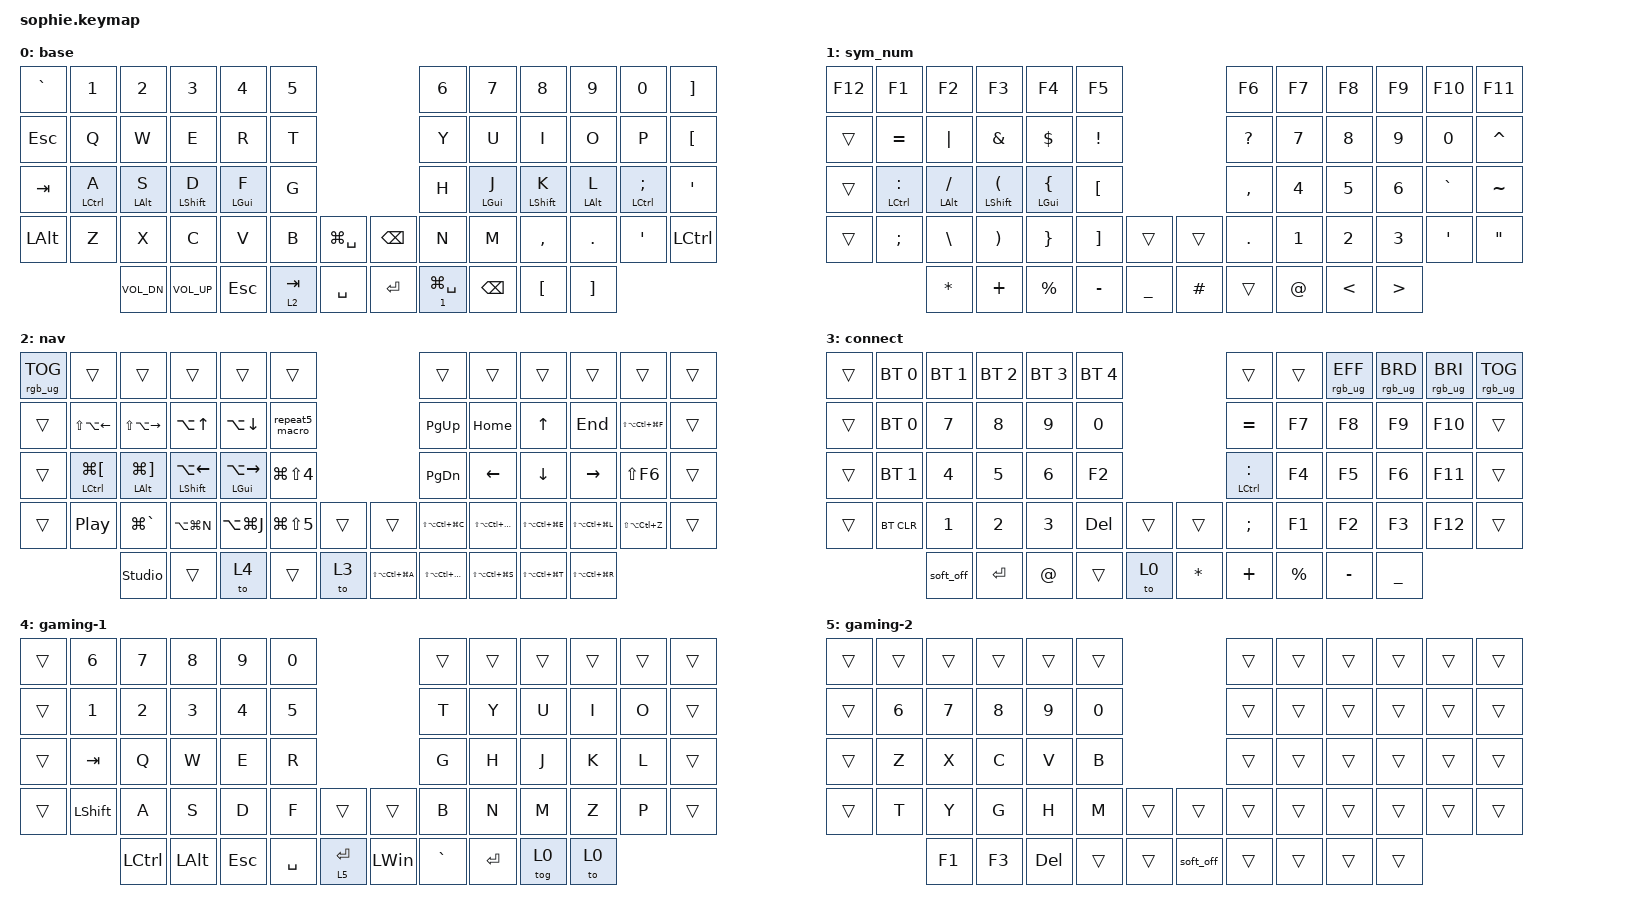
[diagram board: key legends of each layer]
/*
 * Sofle ("sophie") keymap ported from the Flake keymap (Jekins/flake-zmk-config).
 *
 * The 40 keys that sit where Flake keys sit carry the Flake bindings on every layer:
 * rows Q/A/Z in columns 2-6 are Flake's 3x5 block, the thumb row is Flake's bottom row.
 * The remaining 20 keys (number row, outer columns, the two inner keys) only add bindings,
 * so both keyboards share one muscle memory.
 *
 * Diagrams: "tap/hold" for hold-taps, blank = transparent.
 */

#include <behaviors.dtsi>
#include <dt-bindings/zmk/bt.h>
#include <dt-bindings/zmk/keys.h>
#include <dt-bindings/zmk/rgb.h>

/ {
    macros {
        repeat5_macro: repeat5_macro {
            compatible = "zmk,behavior-macro";
            #binding-cells = <0>;
            bindings = <&key_repeat &key_repeat &key_repeat &key_repeat &key_repeat>;
        };

        layer_tap_lang: layer_tap_lang {
            compatible = "zmk,behavior-macro-one-param";
            #binding-cells = <1>;
            wait-ms = <0>;
            tap-ms = <0>;
            bindings =
                <&macro_press>,
                <&kp LCTRL &kp LALT>,
                <&macro_tap>,
                <&kp N1>,
                <&macro_release>,
                <&kp LCTRL &kp LALT &macro_param_1to1>,
                <&macro_press>,
                <&mo MACRO_PLACEHOLDER>,
                <&macro_pause_for_release>,
                <&macro_param_1to1>,
                <&macro_release>,
                <&mo MACRO_PLACEHOLDER>,
                <&macro_press>,
                <&kp LCTRL &kp LALT>,
                <&macro_tap>,
                <&kp N3>,
                <&macro_release>,
                <&kp LCTRL &kp LALT>;

            /*
                Relies on the same Hammerspoon script as the Flake:
                ctrl+alt+1 switches to "ABC" and remembers the previous layout,
                ctrl+alt+3 switches back to it.
            */
        };
    };

    behaviors {
        lt_lang: layer_tap_with_lang {
            compatible = "zmk,behavior-hold-tap";
            #binding-cells = <2>;
            tapping-term-ms = <200>;
            quick-tap-ms = <175>;
            flavor = "tap-preferred";
            bindings = <&layer_tap_lang>, <&kp>;
        };

        hmr: hmr {
            compatible = "zmk,behavior-hold-tap";
            bindings = <&kp>, <&kp>;

            #binding-cells = <2>;
            tapping-term-ms = <200>;
            quick-tap-ms = <175>;
            flavor = "balanced";
            hold-trigger-on-release;
            // left hand, both inner keys, all thumbs
            hold-trigger-key-positions = <0 1 2 3 4 5 12 13 14 15 16 17 24 25 26 27 28 29 36 37 38 39 40 41 42 43 50 51 52 53 54 55 56 57 58 59>;
        };

        hml: hml {
            compatible = "zmk,behavior-hold-tap";
            bindings = <&kp>, <&kp>;

            #binding-cells = <2>;
            tapping-term-ms = <200>;
            quick-tap-ms = <175>;
            flavor = "balanced";
            hold-trigger-on-release;
            // right hand, both inner keys, all thumbs
            hold-trigger-key-positions = <6 7 8 9 10 11 18 19 20 21 22 23 30 31 32 33 34 35 42 43 44 45 46 47 48 49 50 51 52 53 54 55 56 57 58 59>;
        };
    };

    keymap {
        compatible = "zmk,keymap";

        base {
            // |   `   |   1   |   2   |   3   |   4   |   5   |               |   6   |   7   |   8   |   9   |   0   |   ]   |
            // |  ESC  |   Q   |   W   |   E   |   R   |   T   |               |   Y   |   U   |   I   |   O   |   P   |   [   |
            // |  TAB  | A/CTL | S/ALT | D/SFT | F/CMD |   G   |               |   H   | J/CMD | K/SFT | L/ALT | ;/CTL |   '   |
            // |  ALT  |   Z   |   X   |   C   |   V   |   B   |  LANG |  BSPC |   N   |   M   |   ,   |   .   |   '   |  CTRL |
            //                 |  VOL- |  VOL+ |  ESC  |TAB/NAV| SPACE | ENTER |LNG/SYM|  BSPC |   [   |   ]   |
            bindings = <
  &kp GRAVE   &kp N1        &kp N2           &kp N3             &kp N4       &kp N5                                   &kp N6                &kp N7         &kp N8             &kp N9             &kp N0           &kp RIGHT_BRACKET
  &kp ESCAPE  &kp Q         &kp W            &kp E              &kp R        &kp T                                    &kp Y                 &kp U          &kp I              &kp O              &kp P            &kp LEFT_BRACKET
  &kp TAB     &hml LCTRL A  &hml LEFT_ALT S  &hml LEFT_SHIFT D  &hml LGUI F  &kp G                                    &kp H                 &hmr LGUI J    &hmr LEFT_SHIFT K  &hmr LEFT_ALT L    &hmr LCTRL SEMI  &kp SQT
  &kp LALT    &kp Z         &kp X            &kp C              &kp V        &kp B      &kp LG(SPACE)  &kp BACKSPACE  &kp N                 &kp M          &kp COMMA          &kp DOT            &kp SQT          &kp LCTRL
                            &kp C_VOL_DN     &kp C_VOL_UP       &kp ESCAPE   &lt 2 TAB  &kp SPACE      &kp ENTER      &lt_lang 1 LG(SPACE)  &kp BACKSPACE  &kp LEFT_BRACKET   &kp RIGHT_BRACKET
            >;
        };

        sym_num {
            // |  F12  |   F1  |   F2  |   F3  |   F4  |   F5  |               |   F6  |   F7  |   F8  |   F9  |  F10  |  F11  |
            // |       |   =   |   |   |   &   |   $   |   !   |               |   ?   |   7   |   8   |   9   |   0   |   ^   |
            // |       | :/CTL | //ALT | (/SFT | {/CMD |   [   |               |   ,   |   4   |   5   |   6   |   `   |   ~   |
            // |       |   ;   |   \   |   )   |   }   |   ]   |       |       |   .   |   1   |   2   |   3   |   '   |   "   |
            //                 |   *   |   +   |   %   |   -   |   _   |   #   | (held)|   @   |   <   |   >   |
            bindings = <
  &kp F12  &kp F1            &kp F2               &kp F3                       &kp F4                &kp F5                                       &kp F6        &kp F7  &kp F8         &kp F9            &kp F10    &kp F11
  &trans   &kp EQUAL         &kp PIPE             &kp AMPERSAND                &kp DOLLAR            &kp EXCLAMATION                              &kp QUESTION  &kp N7  &kp N8         &kp N9            &kp N0     &kp CARET
  &trans   &hml LCTRL COLON  &hml LEFT_ALT SLASH  &hml LSHFT LEFT_PARENTHESIS  &hml LGUI LEFT_BRACE  &kp LEFT_BRACKET                             &kp COMMA     &kp N4  &kp N5         &kp N6            &kp GRAVE  &kp TILDE
  &trans   &kp SEMI          &kp BACKSLASH        &kp RIGHT_PARENTHESIS        &kp RIGHT_BRACE       &kp RIGHT_BRACKET  &trans          &trans    &kp DOT       &kp N1  &kp N2         &kp N3            &kp SQT    &kp DOUBLE_QUOTES
                             &kp ASTERISK         &kp PLUS                     &kp PERCENT           &kp MINUS          &kp UNDERSCORE  &kp HASH  &trans        &kp AT  &kp LESS_THAN  &kp GREATER_THAN
            >;
        };

        nav {
            // |  RGB  |       |       |       |       |       |               |       |       |       |       |       |       |
            // |       | SELW< | SELW> |  A-UP | A-DOWN|  REP5 |               |  PGUP |  HOME |   UP  |  END  | HYP-F |       |
            // |       | C[/CTL| C]/ALT| W</SFT| W>/CMD| C-S-4 |               |  PGDN |  LEFT |  DOWN | RIGHT |  S-F6 |       |
            // |       |  PLAY |  C-`  | A-C-N | A-C-J | C-S-5 |       |       | HYP-C | HYP-M | HYP-E | HYP-L | MEH-Z |       |
            //                 | STUDIO|       |  GAME | (held)|  CONN | HYP-A | HYP-W | HYP-S | HYP-T | HYP-R |
            bindings = <
  &rgb_ug RGB_TOG  &trans                       &trans                       &trans                      &trans                     &trans                                         &trans                 &trans                 &trans                 &trans                 &trans                 &trans
  &trans           &kp LS(LA(LEFT_ARROW))       &kp LS(LA(RIGHT_ARROW))      &kp LA(UP_ARROW)            &kp LA(DOWN_ARROW)         &repeat5_macro                                 &kp PAGE_UP            &kp HOME               &kp UP                 &kp END                &kp LS(LA(LC(LG(F))))  &trans
  &trans           &hml LCTRL LG(LEFT_BRACKET)  &hml LALT LG(RIGHT_BRACKET)  &hml LSHIFT LA(LEFT_ARROW)  &hml LGUI LA(RIGHT_ARROW)  &kp LG(LS(N4))                                 &kp PG_DN              &kp LEFT               &kp DOWN               &kp RIGHT              &kp LS(F6)             &trans
  &trans           &kp C_PP                     &kp LG(GRAVE)                &kp LA(LG(N))               &kp LA(LG(J))              &kp LG(LS(N5))  &trans  &trans                 &kp LS(LA(LC(LG(C))))  &kp LS(LA(LC(LG(M))))  &kp LS(LA(LC(LG(E))))  &kp LS(LA(LC(LG(L))))  &kp LS(LA(LC(Z)))      &trans
                                                &studio_unlock               &trans                      &to 4                      &trans          &to 3   &kp LS(LA(LC(LG(A))))  &kp LS(LA(LC(LG(W))))  &kp LS(LA(LC(LG(S))))  &kp LS(LA(LC(LG(T))))  &kp LS(LA(LC(LG(R))))
            >;
        };

        connect {
            // |       |  BT0  |  BT1  |  BT2  |  BT3  |  BT4  |               |       |       | RGBEFF|  BRI- |  BRI+ |  RGB  |
            // |       |  BT0  |   7   |   8   |   9   |   0   |               |   =   |   F7  |   F8  |   F9  |  F10  |       |
            // |       |  BT1  |   4   |   5   |   6   |   F2  |               | :/CTL |   F4  |   F5  |   F6  |  F11  |       |
            // |       | BTCLR |   1   |   2   |   3   |  DEL  |       |       |   ;   |   F1  |   F2  |   F3  |  F12  |       |
            //                 |  OFF  | ENTER |   @   |       |  BASE |   *   |   +   |   %   |   -   |   _   |
            bindings = <
  &trans  &bt BT_SEL 0  &bt BT_SEL 1  &bt BT_SEL 2  &bt BT_SEL 3  &bt BT_SEL 4                        &trans            &trans       &rgb_ug RGB_EFF  &rgb_ug RGB_BRD  &rgb_ug RGB_BRI  &rgb_ug RGB_TOG
  &trans  &bt BT_SEL 0  &kp N7        &kp N8        &kp N9        &kp NUMBER_0                        &kp EQUAL         &kp F7       &kp F8           &kp F9           &kp F10          &trans
  &trans  &bt BT_SEL 1  &kp N4        &kp N5        &kp N6        &kp F2                              &hml LCTRL COLON  &kp F4       &kp F5           &kp F6           &kp F11          &trans
  &trans  &bt BT_CLR    &kp N1        &kp N2        &kp N3        &kp DELETE    &trans  &trans        &kp SEMI          &kp F1       &kp F2           &kp F3           &kp F12          &trans
                        &soft_off     &kp ENTER     &kp AT        &trans        &to 0   &kp ASTERISK  &kp PLUS          &kp PERCENT  &kp MINUS        &kp UNDERSCORE
            >;
        };

        gaming-1 {
            // |       |   6   |   7   |   8   |   9   |   0   |               |       |       |       |       |       |       |
            // |       |   1   |   2   |   3   |   4   |   5   |               |   T   |   Y   |   U   |   I   |   O   |       |
            // |       |  TAB  |   Q   |   W   |   E   |   R   |               |   G   |   H   |   J   |   K   |   L   |       |
            // |       | SHIFT |   A   |   S   |   D   |   F   |       |       |   B   |   N   |   M   |   Z   |   P   |       |
            //                 |  CTRL |  ALT  |  ESC  | SPACE | ENT/G2|  CMD  |   `   | ENTER |  TOG0 |  BASE |
            bindings = <
  &trans  &kp N6     &kp N7     &kp N8        &kp N9      &kp N0                                &trans     &trans     &trans  &trans  &trans  &trans
  &trans  &kp N1     &kp N2     &kp N3        &kp N4      &kp N5                                &kp T      &kp Y      &kp U   &kp I   &kp O   &trans
  &trans  &kp TAB    &kp Q      &kp W         &kp E       &kp R                                 &kp G      &kp H      &kp J   &kp K   &kp L   &trans
  &trans  &kp LSHFT  &kp A      &kp S         &kp D       &kp F      &trans       &trans        &kp B      &kp N      &kp M   &kp Z   &kp P   &trans
                     &kp LCTRL  &kp LEFT_ALT  &kp ESCAPE  &kp SPACE  &lt 5 ENTER  &kp LEFT_WIN  &kp GRAVE  &kp ENTER  &tog 0  &to 0
            >;
        };

        gaming-2 {
            // |       |       |       |       |       |       |               |       |       |       |       |       |       |
            // |       |   6   |   7   |   8   |   9   |   0   |               |       |       |       |       |       |       |
            // |       |   Z   |   X   |   C   |   V   |   B   |               |       |       |       |       |       |       |
            // |       |   T   |   Y   |   G   |   H   |   M   |       |       |       |       |       |       |       |       |
            //                 |   F1  |   F3  |  DEL  |       | (held)|  OFF  |       |       |       |       |
            bindings = <
  &trans  &trans        &trans        &trans        &trans        &trans                           &trans  &trans  &trans  &trans  &trans  &trans
  &trans  &kp NUMBER_6  &kp NUMBER_7  &kp NUMBER_8  &kp NUMBER_9  &kp NUMBER_0                     &trans  &trans  &trans  &trans  &trans  &trans
  &trans  &kp Z         &kp X         &kp C         &kp V         &kp B                            &trans  &trans  &trans  &trans  &trans  &trans
  &trans  &kp T         &kp Y         &kp G         &kp H         &kp M         &trans  &trans     &trans  &trans  &trans  &trans  &trans  &trans
                        &kp F1        &kp F3        &kp DELETE    &trans        &trans  &soft_off  &trans  &trans  &trans  &trans
            >;
        };
    };
};
